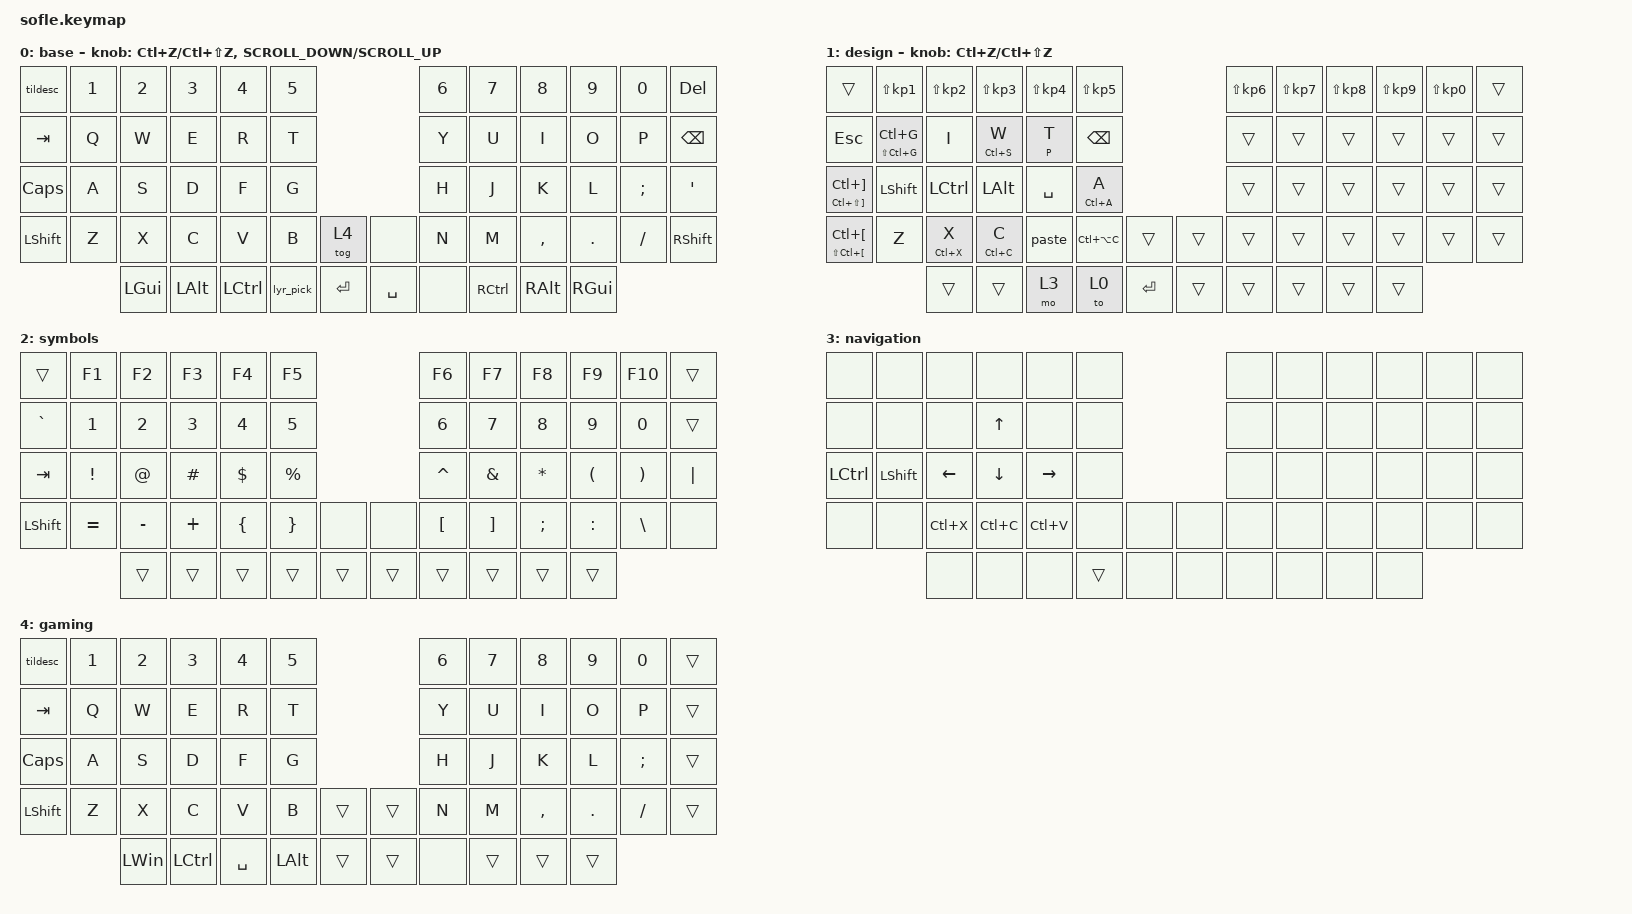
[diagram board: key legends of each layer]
/*
 * Copyright (c) 2020 The ZMK Contributors
 *
 * SPDX-License-Identifier: MIT
 */

#include <behaviors.dtsi>
#include <dt-bindings/zmk/keys.h>

#define BASE 0
#define LOWER 1
#define RAISE 2
#define ADJUST 3

/ {
    // Activate ADJUST layer by pressing raise and lower

    conditional_layers { compatible = "zmk,conditional-layers"; };

    behaviors {
        paste: paste {
            compatible = "zmk,behavior-tap-dance";
            label = "PASTE";
            #binding-cells = <0>;
            bindings = <&mt LC(V) V>, <&kp LC(LA(LS(V)))>;
        };

        lyr_pick: lyr_pick {
            compatible = "zmk,behavior-tap-dance";
            label = "LYR_PICK";
            #binding-cells = <0>;
            bindings = <&tog 1>, <&mo 2>, <&mo 3>;
        };

        tildesc: tildesc {
            compatible = "zmk,behavior-mod-morph";
            label = "TILDESC";
            bindings = <&kp ESCAPE>, <&kp TILDE>;

            #binding-cells = <0>;
            mods = <(MOD_LSFT)>;
        };
    };

    keymap {
        compatible = "zmk,keymap";

        base {
            display-name = "base";

            // ------------------------------------------------------------------------------------------------------------
            // |   `   |  1  |  2  |  3   |  4   |  5   |                   |  6   |  7    |  8    |  9   |   0   |       |
            // |  ESC  |  Q  |  W  |  E   |  R   |  T   |                   |  Y   |  U    |  I    |  O   |   P   | BKSPC |
            // |  TAB  |  A  |  S  |  D   |  F   |  G   |                   |  H   |  J    |  K    |  L   |   ;   |   '   |
            // | SHIFT |  Z  |  X  |  C   |  V   |  B   |  MUTE  |  |       |  N   |  M    |  ,    |  .   |   /   | SHIFT |
            //               | GUI | ALT  | CTRL | LOWER|  ENTER |  | SPACE | RAISE| CTRL  | ALT   | GUI  |

            bindings = <
&tildesc    &kp N1  &kp N2    &kp N3    &kp N4     &kp N5                           &kp N6  &kp N7     &kp N8     &kp N9    &kp N0         &kp DELETE
&kp TAB     &kp Q   &kp W     &kp E     &kp R      &kp T                            &kp Y   &kp U      &kp I      &kp O     &kp P          &kp BSPC
&kp CAPS    &kp A   &kp S     &kp D     &kp F      &kp G                            &kp H   &kp J      &kp K      &kp L     &kp SEMICOLON  &kp SQT
&kp LSHIFT  &kp Z   &kp X     &kp C     &kp V      &kp B      &tog 4     &none      &kp N   &kp M      &kp COMMA  &kp DOT   &kp FSLH       &kp RSHFT
                    &kp LGUI  &kp LALT  &kp LCTRL  &lyr_pick  &kp RET    &kp SPACE  &none   &kp RCTRL  &kp RALT   &kp RGUI
            >;

            sensor-bindings =
                <&inc_dec_kp LC(Z) LC(LS(Z))>,
                <&inc_dec_kp K_SCROLL_DOWN K_SCROLL_UP>;
        };

        design {
            bindings = <
&trans                                       &kp LS(KP_N1)        &kp LS(KP_N2)     &kp LS(KP_N3)  &kp LS(KP_N4)  &kp LS(KP_N5)                       &kp LS(KP_N6)  &kp LS(KP_N7)  &kp LS(KP_N8)  &kp LS(KP_N9)  &kp LS(KP_N0)  &trans
&kp ESCAPE                                   &mt LS(LC(G)) LC(G)  &kp I             &mt LC(S) W    &mt P T        &kp BACKSPACE                       &trans         &trans         &trans         &trans         &trans         &trans
&mt LC(LS(RIGHT_BRACKET)) LC(RIGHT_BRACKET)  &kp LEFT_SHIFT       &kp LEFT_CONTROL  &kp LEFT_ALT   &kp SPACE      &mt LC(A) A                         &trans         &trans         &trans         &trans         &trans         &trans
&mt LS(LC(LEFT_BRACKET)) LC(LEFT_BRACKET)    &kp Z                &mt LC(X) X       &mt LC(C) C    &paste         &kp LC(LA(C))  &trans       &trans  &trans         &trans         &trans         &trans         &trans         &trans
                                                                  &trans            &trans         &mo 3          &to 0          &kp ENTER    &trans  &trans         &trans         &trans         &trans
            >;

            sensor-bindings = <&inc_dec_kp LC(Z) LC(LS(Z))>;
            label = "design";
        };

        symbols {
            bindings = <
&trans     &kp F1     &kp F2     &kp F3     &kp F4          &kp F5                             &kp F6     &kp F7    &kp F8     &kp F9                &kp F10                &trans
&kp GRAVE  &kp N1     &kp N2     &kp N3     &kp N4          &kp N5                             &kp N6     &kp N7    &kp N8     &kp N9                &kp N0                 &trans
&kp TAB    &kp EXCL   &kp AT     &kp POUND  &kp DOLLAR      &kp PERCENT                        &kp CARET  &kp AMPS  &kp ASTRK  &kp LEFT_PARENTHESIS  &kp RIGHT_PARENTHESIS  &kp PIPE
&kp LSHFT  &kp EQUAL  &kp MINUS  &kp PLUS   &kp LEFT_BRACE  &kp RIGHT_BRACE  &none     &none   &kp LBKT   &kp RBKT  &kp SEMI   &kp COLON             &kp BSLH               &none
                      &trans     &trans     &trans          &trans           &trans    &trans  &trans     &trans    &trans     &trans
            >;

            label = "symbols";
        };

        navigation {
            bindings = <
&none      &none       &none      &none      &none      &none                   &none  &none  &none  &none  &none  &none
&none      &none       &none      &kp UP     &none      &none                   &none  &none  &none  &none  &none  &none
&kp LCTRL  &kp LSHIFT  &kp LEFT   &kp DOWN   &kp RIGHT  &none                   &none  &none  &none  &none  &none  &none
&none      &none       &kp LC(X)  &kp LC(C)  &kp LC(V)  &none   &none    &none  &none  &none  &none  &none  &none  &none
                       &none      &none      &none      &trans  &none    &none  &none  &none  &none  &none
            >;

            label = "navigation";
        };

        gaming {
            bindings = <
&tildesc   &kp NUMBER_1  &kp NUMBER_2  &kp NUMBER_3  &kp NUMBER_4  &kp N5                          &kp NUMBER_6  &kp N7  &kp N8     &kp N9   &kp N0    &trans
&kp TAB    &kp Q         &kp W         &kp E         &kp R         &kp T                           &kp Y         &kp U   &kp I      &kp O    &kp P     &trans
&kp CAPS   &kp A         &kp S         &kp D         &kp F         &kp G                           &kp H         &kp J   &kp K      &kp L    &kp SEMI  &trans
&kp LSHFT  &kp Z         &kp X         &kp C         &kp V         &kp B         &trans    &trans  &kp N         &kp M   &kp COMMA  &kp DOT  &kp FSLH  &trans
                         &kp LEFT_WIN  &kp LCTRL     &kp SPACE     &kp LEFT_ALT  &trans    &trans  &none         &trans  &trans     &trans
            >;

            label = "gaming";
        };
    };
};
